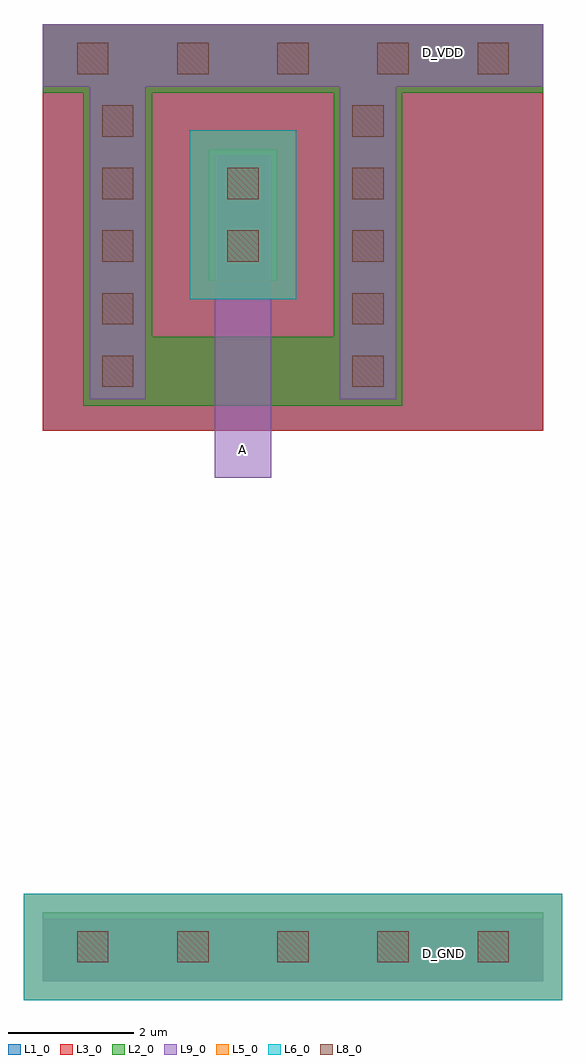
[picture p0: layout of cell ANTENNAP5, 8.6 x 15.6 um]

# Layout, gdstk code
import gdstk
lib = gdstk.Library(unit=1e-6, precision=1e-09)
def R(c, l, rs):  # rectangles x0, y0, x1, y1
    for r in rs: c.add(gdstk.rectangle(r[:2], r[2:], *l))
def A(c, l, x, y, w, h, nx, ny, dx, dy):  # array of equal rectangles
    R(c, l, [(x+i*dx, y+j*dy, x+i*dx+w, y+j*dy+h) for i in range(nx) for j in range(ny)])
def P(c, l, *ps):  # polygons
    for p in ps: c.add(gdstk.Polygon(p, *l))
L1_0 = (1, 0)
L2_0 = (2, 0)
L3_0 = (3, 0)
L5_0 = (5, 0)
L6_0 = (6, 0)
L8_0 = (8, 0)
L9_0 = (9, 0)

antennap5 = lib.new_cell('ANTENNAP5')
R(antennap5, L1_0, [(0,8.8,1.6,15.3), (0,8.8,1.6,15.3), (1.6,8.8,3.2,15.3), (1.6,8.8,3.2,15.3), (3.2,8.8,4.8,15.3), (3.2,8.8,4.8,15.3), (4.8,8.8,6.4,15.3), (4.8,8.8,6.4,15.3), (6.4,8.8,8,15.3)])
A(antennap5, L2_0, 0, 0, 1.6, 1.1, 5, 2, 1.6, 14.2)
R(antennap5, L2_0, [(2.65,11.2,3.75,12.3), (2.65,12.2,3.75,13.3)])
P(antennap5, L2_0, [(5.75,9.2),(5.75,14.2),(4.65,14.2),(4.65,10.3),(1.75,10.3),(1.75,14.2),(5.75,14.2),(5.75,15.3),(0.65,15.3),(0.65,9.2)])
R(antennap5, L3_0, [(0,8.8,1.6,15.3), (0,8.8,1.6,15.3), (1.6,8.8,3.2,15.3), (1.6,8.8,3.2,15.3), (3.2,8.8,4.8,15.3), (3.2,8.8,4.8,15.3), (4.8,8.8,6.4,15.3), (4.8,8.8,6.4,15.3), (6.4,8.8,8,15.3)])
A(antennap5, L5_0, 1.6, -0.3, 1.6, 1.7, 3, 1, 1.6, 0)
R(antennap5, L5_0, [(-0.3,-0.3,1.6,1.4), (6.4,-0.3,8.3,1.4), (2.35,10.9,4.05,12.6), (2.35,11.9,4.05,13.6)])
A(antennap5, L6_0, 1.6, -0.3, 1.6, 1.7, 3, 1, 1.6, 0)
R(antennap5, L6_0, [(-0.3,-0.3,1.6,1.4), (6.4,-0.3,8.3,1.4), (2.35,10.9,4.05,12.6), (2.35,11.9,4.05,13.6)])
A(antennap5, L8_0, 0.55, 0.3, 0.5, 0.5, 5, 2, 1.6, 14.2)
A(antennap5, L8_0, 0.95, 11.5, 0.5, 0.5, 3, 2, 2, 1)
R(antennap5, L8_0, [(0.95,9.5,1.45,10), (4.95,9.5,5.45,10), (0.95,10.5,1.45,11), (4.95,10.5,5.45,11), (0.95,13.5,1.45,14), (4.95,13.5,5.45,14)])
A(antennap5, L9_0, 0, 0, 1.6, 1, 5, 2, 1.6, 14.3)
R(antennap5, L9_0, [(5.95,0,6.85,0.9), (2.75,8.05,3.65,8.95), (2.75,8.05,3.65,12.2), (2.75,11.3,3.65,12.2), (2.75,12.2,3.65,12.3), (2.75,12.3,3.65,13.2), (5.95,14.4,6.85,15.3)])
P(antennap5, L9_0, [(1.65,9.3),(1.65,14.3),(4.75,14.3),(4.75,9.3),(5.65,9.3),(5.65,15.2),(5.6,15.2),(5.6,15),(0.75,15),(0.75,9.3)])
antennap5.add(gdstk.Label('D_GND', (6.4,0.45), layer=50, texttype=0))
antennap5.add(gdstk.Label('D_VDD', (6.4,14.85), layer=50, texttype=0))
antennap5.add(gdstk.Label('A', (3.2,8.5), layer=50, texttype=0))

lib.write_gds('ANTENNAP5.gds')
